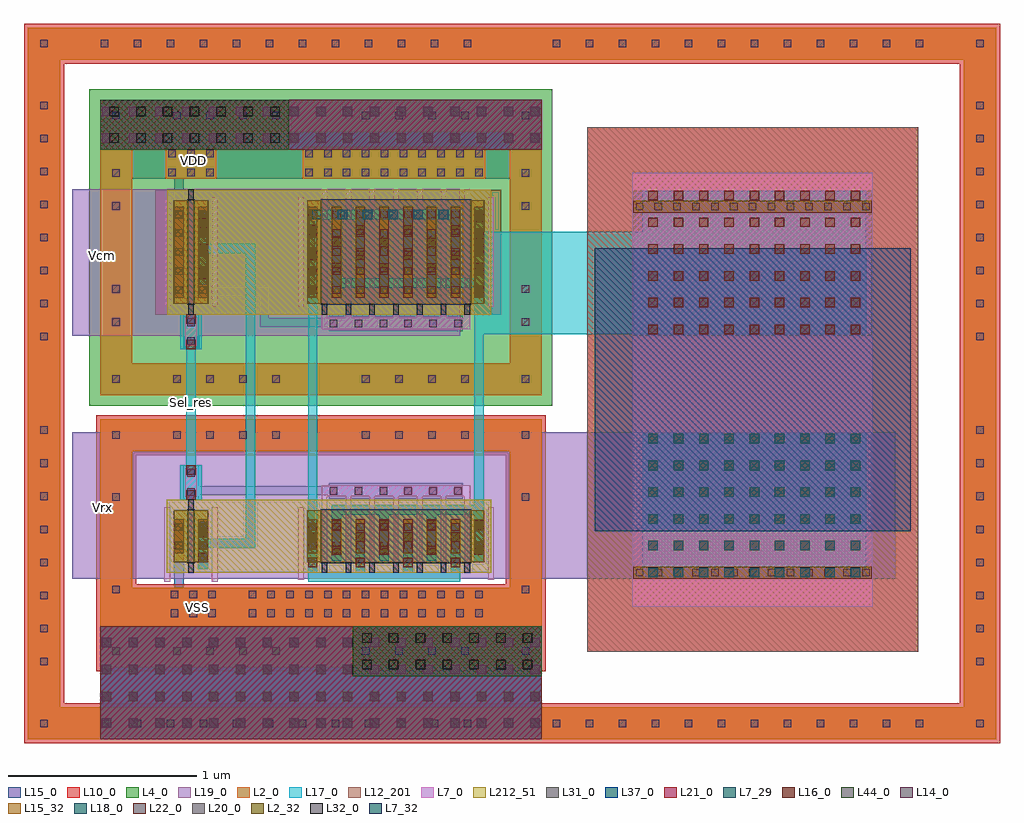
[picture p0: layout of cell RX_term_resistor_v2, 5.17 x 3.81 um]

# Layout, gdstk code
from math import pi, radians
import gdstk
lib = gdstk.Library(unit=1e-6, precision=1e-09)
def R(c, l, rs):  # rectangles x0, y0, x1, y1
    for r in rs: c.add(gdstk.rectangle(r[:2], r[2:], *l))
def A(c, l, x, y, w, h, nx, ny, dx, dy):  # array of equal rectangles
    R(c, l, [(x+i*dx, y+j*dy, x+i*dx+w, y+j*dy+h) for i in range(nx) for j in range(ny)])
def P(c, l, *ps):  # polygons
    for p in ps: c.add(gdstk.Polygon(p, *l))
L2_0 = (2, 0)
L2_32 = (2, 32)
L4_0 = (4, 0)
L7_0 = (7, 0)
L7_29 = (7, 29)
L7_32 = (7, 32)
L10_0 = (10, 0)
L12_201 = (12, 201)
L14_0 = (14, 0)
L15_0 = (15, 0)
L15_32 = (15, 32)
L16_0 = (16, 0)
L17_0 = (17, 0)
L18_0 = (18, 0)
L19_0 = (19, 0)
L20_0 = (20, 0)
L21_0 = (21, 0)
L22_0 = (22, 0)
L31_0 = (31, 0)
L32_0 = (32, 0)
L37_0 = (37, 0)
L44_0 = (44, 0)
L212_51 = (212, 51)

subring_cdns_63307180891 = lib.new_cell('subring_CDNS_6330718089166')
P(subring_cdns_63307180891, L2_0, [(-0.17,-0.17),(2.17,-0.17),(2.17,1.396),(2,1.396),(2,0),(0,0),(0,1.226),(2,1.226),(2,1.396),(-0.17,1.396)])
P(subring_cdns_63307180891, L4_0, [(-0.226,-0.226),(2.226,-0.226),(2.226,1.452),(1.944,1.452),(1.944,0.056),(0.056,0.056),(0.056,1.17),(1.944,1.17),(1.944,1.452),(-0.226,1.452)])
A(subring_cdns_63307180891, L14_0, 0.218, -0.105, 0.04, 0.04, 4, 2, 0.175, 1.396)
A(subring_cdns_63307180891, L14_0, 1.218, -0.105, 0.04, 0.04, 4, 2, 0.175, 1.396)
R(subring_cdns_63307180891, L14_0, [(-0.105,-0.105,-0.065,-0.065), (2.065,-0.105,2.105,-0.065), (-0.105,0.198,-0.065,0.238), (2.065,0.198,2.105,0.238), (-0.105,0.373,-0.065,0.413), (2.065,0.373,2.105,0.413), (-0.105,0.813,-0.065,0.853), (2.065,0.813,2.105,0.853), (-0.105,0.988,-0.065,1.028), (2.065,0.988,2.105,1.028), (-0.105,1.291,-0.065,1.331), (2.065,1.291,2.105,1.331)])
R(subring_cdns_63307180891, L15_0, [(-0.17,-0.17,0,0), (0,-0.17,1,0), (1,-0.17,2,0), (2,-0.17,2.17,0), (-0.17,0,0,0.611), (2,0,2.17,0.611), (-0.17,0.615,0,1.226), (2,0.615,2.17,1.226), (-0.17,1.226,0,1.396), (0,1.226,1,1.396), (1,1.226,2,1.396), (2,1.226,2.17,1.396)])
subring_cdns_63307180891.add(gdstk.Label('W/L : 2um/1.226nm', (0,0.2), layer=62, texttype=20))

rectarray_cdns_633071808 = lib.new_cell('rectarray_CDNS_6330718089168')
A(rectarray_cdns_633071808, L14_0, 0, 0, 0.04, 0.04, 1, 5, 0, 0.1)

slvtpfet_b_cdns_63307180 = lib.new_cell('slvtpfet_b_CDNS_6330718089167')
R(slvtpfet_b_cdns_63307180, L2_0, [(-0.076,0,0.862,0.55)])
R(slvtpfet_b_cdns_63307180, L2_32, [(-0.076,0,0,0.55), (0.786,0,0.862,0.55)])
R(slvtpfet_b_cdns_63307180, L4_0, [(-0.167,-0.056,0.953,0.606)])
A(slvtpfet_b_cdns_63307180, L7_0, 0, -0.057, 0.03, 0.664, 7, 1, 0.126, 0)
R(slvtpfet_b_cdns_63307180, L7_0, [(-0.126,-0.016,-0.096,0.566), (0.882,-0.016,0.912,0.566)])
R(slvtpfet_b_cdns_63307180, L7_29, [(-0.005,-0.005,0.791,0.555)])
A(slvtpfet_b_cdns_63307180, L7_32, 0, -0.057, 0.03, 0.057, 7, 1, 0.126, 0)
R(slvtpfet_b_cdns_63307180, L10_0, [(-0.132,-0.056,0.918,0.606)])
A(slvtpfet_b_cdns_63307180, L15_0, -0.073, 0.034, 0.05, 0.482, 8, 1, 0.126, 0)
A(slvtpfet_b_cdns_63307180, L15_32, -0.073, 0.034, 0.05, 0.482, 8, 1, 0.126, 0)
R(slvtpfet_b_cdns_63307180, L212_51, [(-0.111,-0.056,0.897,0.606)])
slvtpfet_b_cdns_63307180.add(gdstk.Reference(rectarray_cdns_633071808, (-0.068,0.055)))
slvtpfet_b_cdns_63307180.add(gdstk.Reference(rectarray_cdns_633071808, (0.058,0.055)))
slvtpfet_b_cdns_63307180.add(gdstk.Reference(rectarray_cdns_633071808, (0.184,0.055)))
slvtpfet_b_cdns_63307180.add(gdstk.Reference(rectarray_cdns_633071808, (0.31,0.055)))
slvtpfet_b_cdns_63307180.add(gdstk.Reference(rectarray_cdns_633071808, (0.436,0.055)))
slvtpfet_b_cdns_63307180.add(gdstk.Reference(rectarray_cdns_633071808, (0.562,0.055)))
slvtpfet_b_cdns_63307180.add(gdstk.Reference(rectarray_cdns_633071808, (0.688,0.055)))
slvtpfet_b_cdns_63307180.add(gdstk.Reference(rectarray_cdns_633071808, (0.814,0.055)))
slvtpfet_b_cdns_63307180.add(gdstk.Label('ifxdevlayout (i486-linux-libc6) build Fri Dec 10 13:20:34 MET 2010  Mgen tech file last modified : 2015/5/20 7:23:37', (0,0), layer=62, texttype=20))

c_rectarray_cdns_633071808 = lib.new_cell('rectarray_CDNS_6330718089170')
A(c_rectarray_cdns_633071808, L14_0, 0, 0, 0.04, 0.04, 3, 2, 0.1, 0.1)

extstackedcontact_cdns_6 = lib.new_cell('extStackedContact_CDNS_6330718089169')
R(extstackedcontact_cdns_6, L2_0, [(0,0,0.268,0.168)])
R(extstackedcontact_cdns_6, L10_0, [(-0.021,-0.021,0.289,0.189)])
R(extstackedcontact_cdns_6, L15_0, [(0,0,0.268,0.168)])
extstackedcontact_cdns_6.add(gdstk.Reference(c_rectarray_cdns_633071808, (0.014,0.014)))

c_slvtpfet_b_cdns_63307180 = lib.new_cell('slvtpfet_b_CDNS_6330718089171')
R(c_slvtpfet_b_cdns_63307180, L2_0, [(-0.076,0,0.106,0.55)])
R(c_slvtpfet_b_cdns_63307180, L2_32, [(-0.076,0,0,0.55), (0.03,0,0.106,0.55)])
R(c_slvtpfet_b_cdns_63307180, L4_0, [(-0.167,-0.056,0.197,0.606)])
R(c_slvtpfet_b_cdns_63307180, L7_0, [(0,-0.057,0.03,0.607), (-0.126,-0.016,-0.096,0.566), (0.126,-0.016,0.156,0.566)])
R(c_slvtpfet_b_cdns_63307180, L7_29, [(-0.005,-0.005,0.035,0.555)])
R(c_slvtpfet_b_cdns_63307180, L7_32, [(0,-0.057,0.03,0), (0,0.55,0.03,0.607)])
R(c_slvtpfet_b_cdns_63307180, L10_0, [(-0.132,-0.056,0.162,0.606)])
R(c_slvtpfet_b_cdns_63307180, L15_0, [(-0.073,0.034,-0.023,0.516), (0.053,0.034,0.103,0.516)])
R(c_slvtpfet_b_cdns_63307180, L15_32, [(-0.073,0.034,-0.023,0.516), (0.053,0.034,0.103,0.516)])
R(c_slvtpfet_b_cdns_63307180, L212_51, [(-0.111,-0.056,0.141,0.606)])
c_slvtpfet_b_cdns_63307180.add(gdstk.Reference(rectarray_cdns_633071808, (-0.068,0.055)))
c_slvtpfet_b_cdns_63307180.add(gdstk.Reference(rectarray_cdns_633071808, (0.058,0.055)))
c_slvtpfet_b_cdns_63307180.add(gdstk.Label('ifxdevlayout (i486-linux-libc6) build Fri Dec 10 13:20:34 MET 2010  Mgen tech file last modified : 2015/5/20 7:23:37', (0,0), layer=62, texttype=20))

c_rectarray_cdns_633071808_ = lib.new_cell('rectarray_CDNS_6330718089173')
A(c_rectarray_cdns_633071808_, L14_0, 0, 0, 0.04, 0.04, 10, 2, 0.1, 0.1)

c_extstackedcontact_cdns_6 = lib.new_cell('extStackedContact_CDNS_6330718089172')
R(c_extstackedcontact_cdns_6, L2_0, [(0,0,0.968,0.168)])
R(c_extstackedcontact_cdns_6, L4_0, [(-0.056,-0.056,1.024,0.224)])
R(c_extstackedcontact_cdns_6, L15_0, [(0,0,0.968,0.168)])
c_extstackedcontact_cdns_6.add(gdstk.Reference(c_rectarray_cdns_633071808_, (0.014,0.014)))

c_extstackedcontact_cdns_6_ = lib.new_cell('extStackedContact_CDNS_6330718089174')
R(c_extstackedcontact_cdns_6_, L2_0, [(0,0,0.968,0.168)])
R(c_extstackedcontact_cdns_6_, L10_0, [(-0.021,-0.021,0.989,0.189)])
R(c_extstackedcontact_cdns_6_, L15_0, [(0,0,0.968,0.168)])
c_extstackedcontact_cdns_6_.add(gdstk.Reference(c_rectarray_cdns_633071808_, (0.014,0.014)))

c_extstackedcontact_cdns_6__ = lib.new_cell('extStackedContact_CDNS_6330718089175')
R(c_extstackedcontact_cdns_6__, L2_0, [(0,0,0.268,0.168)])
R(c_extstackedcontact_cdns_6__, L4_0, [(-0.056,-0.056,0.324,0.224)])
R(c_extstackedcontact_cdns_6__, L15_0, [(0,0,0.268,0.168)])
c_extstackedcontact_cdns_6__.add(gdstk.Reference(c_rectarray_cdns_633071808, (0.014,0.014)))

slvtnfet_b_cdns_63307180 = lib.new_cell('slvtnfet_b_CDNS_6330718089176')
R(slvtnfet_b_cdns_63307180, L2_0, [(-0.076,0,0.862,0.275)])
R(slvtnfet_b_cdns_63307180, L2_32, [(-0.076,0,0,0.275), (0.786,0,0.862,0.275)])
A(slvtnfet_b_cdns_63307180, L7_0, 0, -0.057, 0.03, 0.389, 7, 1, 0.126, 0)
R(slvtnfet_b_cdns_63307180, L7_0, [(-0.126,-0.016,-0.096,0.291), (0.882,-0.016,0.912,0.291)])
R(slvtnfet_b_cdns_63307180, L7_29, [(-0.005,-0.005,0.791,0.28)])
A(slvtnfet_b_cdns_63307180, L7_32, 0, -0.057, 0.03, 0.057, 7, 1, 0.126, 0)
A(slvtnfet_b_cdns_63307180, L14_0, -0.068, 0.067, 0.04, 0.04, 8, 2, 0.126, 0.1)
A(slvtnfet_b_cdns_63307180, L15_0, -0.073, 0.046, 0.05, 0.182, 8, 1, 0.126, 0)
A(slvtnfet_b_cdns_63307180, L15_32, -0.073, 0.046, 0.05, 0.182, 8, 1, 0.126, 0)
R(slvtnfet_b_cdns_63307180, L212_51, [(-0.111,-0.056,0.897,0.331)])
slvtnfet_b_cdns_63307180.add(gdstk.Label('ifxdevlayout (i486-linux-libc6) build Fri Dec 10 13:20:34 MET 2010  Mgen tech file last modified : 2015/5/20 7:23:37', (0,0), layer=62, texttype=20))

c_slvtnfet_b_cdns_63307180 = lib.new_cell('slvtnfet_b_CDNS_6330718089177')
R(c_slvtnfet_b_cdns_63307180, L2_0, [(-0.076,0,0.106,0.275)])
R(c_slvtnfet_b_cdns_63307180, L2_32, [(-0.076,0,0,0.275), (0.03,0,0.106,0.275)])
R(c_slvtnfet_b_cdns_63307180, L7_0, [(0,-0.057,0.03,0.332), (-0.126,-0.016,-0.096,0.291), (0.126,-0.016,0.156,0.291)])
R(c_slvtnfet_b_cdns_63307180, L7_29, [(-0.005,-0.005,0.035,0.28)])
R(c_slvtnfet_b_cdns_63307180, L7_32, [(0,-0.057,0.03,0), (0,0.275,0.03,0.332)])
R(c_slvtnfet_b_cdns_63307180, L14_0, [(-0.068,0.067,-0.028,0.107), (0.058,0.067,0.098,0.107), (-0.068,0.167,-0.028,0.207), (0.058,0.167,0.098,0.207)])
R(c_slvtnfet_b_cdns_63307180, L15_0, [(-0.073,0.046,-0.023,0.228), (0.053,0.046,0.103,0.228)])
R(c_slvtnfet_b_cdns_63307180, L15_32, [(-0.073,0.046,-0.023,0.228), (0.053,0.046,0.103,0.228)])
R(c_slvtnfet_b_cdns_63307180, L212_51, [(-0.111,-0.056,0.141,0.331)])
c_slvtnfet_b_cdns_63307180.add(gdstk.Label('ifxdevlayout (i486-linux-libc6) build Fri Dec 10 13:20:34 MET 2010  Mgen tech file last modified : 2015/5/20 7:23:37', (0,0), layer=62, texttype=20))

c_subring_cdns_63307180891 = lib.new_cell('subring_CDNS_6330718089178')
P(c_subring_cdns_63307180891, L2_0, [(-0.17,-0.17),(2.17,-0.17),(2.17,1.145),(2,1.145),(2,0),(0,0),(0,0.975),(2,0.975),(2,1.145),(-0.17,1.145)])
P(c_subring_cdns_63307180891, L10_0, [(-0.191,-0.191),(2.191,-0.191),(2.191,1.166),(1.979,1.166),(1.979,0.021),(0.021,0.021),(0.021,0.954),(1.979,0.954),(1.979,1.166),(-0.191,1.166)])
A(c_subring_cdns_63307180891, L14_0, 0.218, -0.105, 0.04, 0.04, 4, 2, 0.175, 1.145)
A(c_subring_cdns_63307180891, L14_0, 1.218, -0.105, 0.04, 0.04, 4, 2, 0.175, 1.145)
R(c_subring_cdns_63307180891, L14_0, [(-0.105,-0.105,-0.065,-0.065), (2.065,-0.105,2.105,-0.065), (-0.105,0.223,-0.065,0.263), (2.065,0.223,2.105,0.263), (-0.105,0.712,-0.065,0.752), (2.065,0.712,2.105,0.752), (-0.105,1.04,-0.065,1.08), (2.065,1.04,2.105,1.08)])
R(c_subring_cdns_63307180891, L15_0, [(-0.17,-0.17,0,0), (0,-0.17,1,0), (1,-0.17,2,0), (2,-0.17,2.17,0), (-0.17,0,0,0.486), (2,0,2.17,0.486), (-0.17,0.489,0,0.975), (2,0.489,2.17,0.975), (-0.17,0.975,0,1.145), (0,0.975,1,1.145), (1,0.975,2,1.145), (2,0.975,2.17,1.145)])
c_subring_cdns_63307180891.add(gdstk.Label('W/L : 2um/0.975nm', (0,0.2), layer=62, texttype=20))

c_rectarray_cdns_633071808__ = lib.new_cell('rectarray_CDNS_6330718089180')
A(c_rectarray_cdns_633071808__, L14_0, 0, 0, 0.04, 0.04, 13, 1, 0.1, 0)

opppcres_b_cdns_63307180 = lib.new_cell('opppcres_b_CDNS_6330718089179')
R(opppcres_b_cdns_63307180, L7_0, [(0,-0.4,1.275,1.9)])
R(opppcres_b_cdns_63307180, L10_0, [(-0.24,-0.64,1.515,2.14)])
R(opppcres_b_cdns_63307180, L12_201, [(-0.24,-0.64,1.515,2.14)])
R(opppcres_b_cdns_63307180, L15_0, [(0.005,-0.252,1.269,-0.188), (0.005,1.688,1.269,1.752)])
R(opppcres_b_cdns_63307180, L15_32, [(0.005,-0.252,1.269,-0.188), (0.005,1.688,1.269,1.752)])
R(opppcres_b_cdns_63307180, L37_0, [(-0.2,0,1.475,1.5)])
opppcres_b_cdns_63307180.add(gdstk.Reference(c_rectarray_cdns_633071808__, (0.017,1.7)))
opppcres_b_cdns_63307180.add(gdstk.Reference(c_rectarray_cdns_633071808__, (0.017,-0.24)))
opppcres_b_cdns_63307180.add(gdstk.Label('ifxdevlayout (i486-linux-libc6) build Fri Dec 10 13:20:34 MET 2010  Mgen tech file last modified : 2015/5/20 7:23:37', (0,0), layer=62, texttype=20))

c_rectarray_cdns_633071808___ = lib.new_cell('rectarray_CDNS_6330718089182')
A(c_rectarray_cdns_633071808___, L32_0, 0, 0, 0.05, 0.05, 7, 2, 0.142, 0.142)

c_extstackedcontact_cdns_6___ = lib.new_cell('extStackedContact_CDNS_6330718089181')
R(c_extstackedcontact_cdns_6___, L31_0, [(0,0,1,0.266)])
R(c_extstackedcontact_cdns_6___, L44_0, [(0,0,1,0.266)])
c_extstackedcontact_cdns_6___.add(gdstk.Reference(c_rectarray_cdns_633071808___, (0.049,0.037)))

c_rectarray_cdns_633071808____ = lib.new_cell('rectarray_CDNS_6330718089184')
A(c_rectarray_cdns_633071808____, L22_0, 0, 0, 0.05, 0.05, 17, 4, 0.142, 0.142)

c_rectarray_cdns_633071808_____ = lib.new_cell('rectarray_CDNS_6330718089185')
A(c_rectarray_cdns_633071808_____, L20_0, 0, 0, 0.05, 0.05, 17, 4, 0.142, 0.142)

c_rectarray_cdns_633071808______ = lib.new_cell('rectarray_CDNS_6330718089186')
A(c_rectarray_cdns_633071808______, L18_0, 0, 0, 0.05, 0.05, 17, 4, 0.142, 0.142)

c_rectarray_cdns_633071808_______ = lib.new_cell('rectarray_CDNS_6330718089187')
A(c_rectarray_cdns_633071808_______, L16_0, 0, 0, 0.05, 0.05, 17, 4, 0.142, 0.142)

c_extstackedcontact_cdns_6____ = lib.new_cell('extStackedContact_CDNS_6330718089183')
R(c_extstackedcontact_cdns_6____, L15_0, [(0,0,2.34,0.6)])
R(c_extstackedcontact_cdns_6____, L17_0, [(0,0,2.34,0.6)])
R(c_extstackedcontact_cdns_6____, L19_0, [(0,0,2.34,0.6)])
R(c_extstackedcontact_cdns_6____, L21_0, [(0,0,2.34,0.6)])
R(c_extstackedcontact_cdns_6____, L31_0, [(0,0,2.34,0.6)])
c_extstackedcontact_cdns_6____.add(gdstk.Reference(c_rectarray_cdns_633071808____, (0.009,0.062)))
c_extstackedcontact_cdns_6____.add(gdstk.Reference(c_rectarray_cdns_633071808_____, (0.009,0.062)))
c_extstackedcontact_cdns_6____.add(gdstk.Reference(c_rectarray_cdns_633071808______, (0.009,0.062)))
c_extstackedcontact_cdns_6____.add(gdstk.Reference(c_rectarray_cdns_633071808_______, (0.009,0.062)))

c_subring_cdns_63307180891_ = lib.new_cell('subring_CDNS_6330718089188')
P(c_subring_cdns_63307180891_, L2_0, [(-0.17,-0.17),(4.96,-0.17),(4.96,3.603),(4.79,3.603),(4.79,0),(0,0),(0,3.433),(4.79,3.433),(4.79,3.603),(-0.17,3.603)])
P(c_subring_cdns_63307180891_, L10_0, [(-0.191,-0.191),(4.981,-0.191),(4.981,3.624),(4.769,3.624),(4.769,0.021),(0.021,0.021),(0.021,3.412),(4.769,3.412),(4.769,3.624),(-0.191,3.624)])
A(c_subring_cdns_63307180891_, L14_0, 0.215, -0.105, 0.04, 0.04, 12, 2, 0.175, 3.603)
A(c_subring_cdns_63307180891_, L14_0, 2.61, -0.105, 0.04, 0.04, 12, 2, 0.175, 3.603)
A(c_subring_cdns_63307180891_, L14_0, -0.105, 0.224, 0.04, 0.04, 1, 8, 0, 0.175)
A(c_subring_cdns_63307180891_, L14_0, 4.855, 0.224, 0.04, 0.04, 1, 8, 0, 0.175)
A(c_subring_cdns_63307180891_, L14_0, -0.105, 1.945, 0.04, 0.04, 1, 8, 0, 0.175)
A(c_subring_cdns_63307180891_, L14_0, 4.855, 1.945, 0.04, 0.04, 1, 8, 0, 0.175)
R(c_subring_cdns_63307180891_, L14_0, [(-0.105,-0.105,-0.065,-0.065), (4.855,-0.105,4.895,-0.065), (-0.105,3.498,-0.065,3.538), (4.855,3.498,4.895,3.538)])
R(c_subring_cdns_63307180891_, L15_0, [(-0.17,-0.17,0,0), (0,-0.17,2.395,0), (2.395,-0.17,4.79,0), (4.79,-0.17,4.96,0), (-0.17,0,0,1.712), (4.79,0,4.96,1.712), (-0.17,1.721,0,3.433), (4.79,1.721,4.96,3.433), (-0.17,3.433,0,3.603), (0,3.433,2.395,3.603), (2.395,3.433,4.79,3.603), (4.79,3.433,4.96,3.603)])
c_subring_cdns_63307180891_.add(gdstk.Label('W/L : 4.79um/3.433nm', (0,0.2), layer=62, texttype=20))

c_rectarray_cdns_633071808________ = lib.new_cell('rectarray_CDNS_6330718089190')
A(c_rectarray_cdns_633071808________, L22_0, 0, 0, 0.05, 0.05, 17, 2, 0.142, 0.142)

c_rectarray_cdns_633071808_________ = lib.new_cell('rectarray_CDNS_6330718089191')
A(c_rectarray_cdns_633071808_________, L20_0, 0, 0, 0.05, 0.05, 17, 2, 0.142, 0.142)

c_rectarray_cdns_633071808__________ = lib.new_cell('rectarray_CDNS_6330718089192')
A(c_rectarray_cdns_633071808__________, L18_0, 0, 0, 0.05, 0.05, 17, 2, 0.142, 0.142)

c_rectarray_cdns_633071808___________ = lib.new_cell('rectarray_CDNS_6330718089193')
A(c_rectarray_cdns_633071808___________, L16_0, 0, 0, 0.05, 0.05, 17, 2, 0.142, 0.142)

c_extstackedcontact_cdns_6_____ = lib.new_cell('extStackedContact_CDNS_6330718089189')
R(c_extstackedcontact_cdns_6_____, L15_0, [(0,0,2.34,0.266)])
R(c_extstackedcontact_cdns_6_____, L17_0, [(0,0,2.34,0.266)])
R(c_extstackedcontact_cdns_6_____, L19_0, [(0,0,2.34,0.266)])
R(c_extstackedcontact_cdns_6_____, L21_0, [(0,0,2.34,0.266)])
R(c_extstackedcontact_cdns_6_____, L31_0, [(0,0,2.34,0.266)])
c_extstackedcontact_cdns_6_____.add(gdstk.Reference(c_rectarray_cdns_633071808________, (0.009,0.037)))
c_extstackedcontact_cdns_6_____.add(gdstk.Reference(c_rectarray_cdns_633071808_________, (0.009,0.037)))
c_extstackedcontact_cdns_6_____.add(gdstk.Reference(c_rectarray_cdns_633071808__________, (0.009,0.037)))
c_extstackedcontact_cdns_6_____.add(gdstk.Reference(c_rectarray_cdns_633071808___________, (0.009,0.037)))

m1v1m2_cdns_633507145880 = lib.new_cell('M1V1M2_CDNS_633507145880')
R(m1v1m2_cdns_633507145880, L15_0, [(-0.109,-0.025,0.109,0.025)])
R(m1v1m2_cdns_633507145880, L16_0, [(-0.092,-0.025,-0.042,0.025), (0.042,-0.025,0.092,0.025)])
R(m1v1m2_cdns_633507145880, L17_0, [(-0.124,-0.025,0.124,0.025)])

pccam1_cdns_633507145881 = lib.new_cell('PCCAM1_CDNS_633507145881')
R(pccam1_cdns_633507145881, L7_0, [(-0.03,-0.074,0.03,0.074)])
R(pccam1_cdns_633507145881, L14_0, [(-0.02,-0.07,0.02,-0.03), (-0.02,0.03,0.02,0.07)])
R(pccam1_cdns_633507145881, L15_0, [(-0.041,-0.075,0.041,0.075)])

m1v1m2_cdns_633507145882 = lib.new_cell('M1V1M2_CDNS_633507145882')
R(m1v1m2_cdns_633507145882, L15_0, [(-0.176,-0.025,0.176,0.025)])
A(m1v1m2_cdns_633507145882, L16_0, -0.159, -0.025, 0.05, 0.05, 3, 1, 0.134, 0)
R(m1v1m2_cdns_633507145882, L17_0, [(-0.191,-0.025,0.191,0.025)])

m1v1m2_cdns_633507145883 = lib.new_cell('M1V1M2_CDNS_633507145883')
R(m1v1m2_cdns_633507145883, L15_0, [(-0.243,-0.025,0.243,0.025)])
A(m1v1m2_cdns_633507145883, L16_0, -0.226, -0.025, 0.05, 0.05, 4, 1, 0.134, 0)
R(m1v1m2_cdns_633507145883, L17_0, [(-0.258,-0.025,0.258,0.025)])

pccam1_cdns_633507145884 = lib.new_cell('PCCAM1_CDNS_633507145884')
R(pccam1_cdns_633507145884, L7_0, [(-0.03,-0.354,0.03,0.354)])
A(pccam1_cdns_633507145884, L14_0, -0.02, -0.35, 0.04, 0.04, 1, 6, 0, 0.132)
R(pccam1_cdns_633507145884, L15_0, [(-0.041,-0.355,0.041,0.355)])

m1v1m2_cdns_633507145885 = lib.new_cell('M1V1M2_CDNS_633507145885')
R(m1v1m2_cdns_633507145885, L15_0, [(-0.042,-0.092,0.042,0.092)])
R(m1v1m2_cdns_633507145885, L16_0, [(-0.025,-0.092,0.025,-0.042), (-0.025,0.042,0.025,0.092)])
R(m1v1m2_cdns_633507145885, L17_0, [(-0.057,-0.092,0.057,0.092)])

m1v1m2_cdns_633507145886 = lib.new_cell('M1V1M2_CDNS_633507145886')
R(m1v1m2_cdns_633507145886, L15_0, [(-0.578,-0.38,0.578,0.38)])
A(m1v1m2_cdns_633507145886, L16_0, -0.561, -0.38, 0.05, 0.05, 9, 6, 0.134, 0.142)
R(m1v1m2_cdns_633507145886, L17_0, [(-0.593,-0.38,0.593,0.38)])

m2v2m3_cdns_633507145887 = lib.new_cell('M2V2M3_CDNS_633507145887')
R(m2v2m3_cdns_633507145887, L17_0, [(-0.377,-0.025,0.377,0.025)])
A(m2v2m3_cdns_633507145887, L18_0, -0.36, -0.025, 0.05, 0.05, 6, 1, 0.134, 0)
R(m2v2m3_cdns_633507145887, L19_0, [(-0.377,-0.025,0.377,0.025)])

m2v2m3_cdns_633507145888 = lib.new_cell('M2V2M3_CDNS_633507145888')
R(m2v2m3_cdns_633507145888, L17_0, [(-0.578,-0.38,0.578,0.38)])
A(m2v2m3_cdns_633507145888, L18_0, -0.561, -0.38, 0.05, 0.05, 9, 6, 0.134, 0.142)
R(m2v2m3_cdns_633507145888, L19_0, [(-0.578,-0.388,0.578,0.388)])

rx_term_resistor_v2 = lib.new_cell('RX_term_resistor_v2')
R(rx_term_resistor_v2, L2_0, [(-4.199,-1.253,-2.199,-1.003), (-3.741,-1.171,-3.596,-1.003)])
R(rx_term_resistor_v2, L4_0, [(-4.425,-0.037,-1.973,1.641), (-4.217,0.446,-3.533,1.459), (-3.533,0.446,-2.066,1.459)])
A(rx_term_resistor_v2, L7_0, -3.194, -0.534, 0.03, 0.016, 7, 2, 0.126, 0.963)
R(rx_term_resistor_v2, L7_0, [(-3.32,-0.96,-3.29,-0.781), (-2.312,-0.96,-2.282,-0.781), (-3.902,-0.534,-3.872,-0.518), (-2.438,-0.534,-2.408,-0.518), (-3.194,-0.518,-3.156,-0.458), (-2.448,-0.518,-2.408,-0.458), (-3.194,0.369,-3.156,0.429), (-2.448,0.369,-2.408,0.429), (-3.902,0.429,-3.872,0.445)])
R(rx_term_resistor_v2, L10_0, [(-4.39,-1.444,-2.008,-0.982), (-4.077,0.446,-3.695,1.108), (-4.077,0.446,-2.242,1.108), (-3.362,0.446,-2.242,1.108)])
R(rx_term_resistor_v2, L15_0, [(-4.369,-1.806,-2.029,-1.003), (-4.369,-1.335,-4.199,-0.21), (-2.199,-1.335,-2.029,-0.21), (-1.543,-0.954,-0.279,-0.178), (-1.495,-0.954,-0.309,-0.178), (-4.751,-0.02,-4.581,1.105), (0.209,-0.02,0.379,1.105), (-4.369,0.178,-4.199,1.303), (-2.199,0.178,-2.029,1.303), (-1.543,0.334,-0.279,1.102), (-1.495,0.334,-0.309,1.102), (-4.369,1.165,-2.029,1.585)])
R(rx_term_resistor_v2, L17_0, [(-3.267,-0.97,-2.461,-0.92), (-3.141,-0.615,-2.335,-0.565), (-2.385,0.342,-0.309,0.885)])
R(rx_term_resistor_v2, L19_0, [(-4.516,-0.953,-0.154,-0.178), (-4.515,0.334,-2.461,1.109)])
R(rx_term_resistor_v2, L212_51, [(-4.015,-0.922,-2.297,-0.535), (-4.013,0.446,-2.297,1.108)])
rx_term_resistor_v2.add(gdstk.FlexPath([(-4.013,-0.79),(-4.013,-0.969)], 0.03, ends="flush", simple_path=True, layer=7, datatype=0))  # L7_0
rx_term_resistor_v2.add(gdstk.FlexPath([(-3.761,-0.79),(-3.761,-0.969)], 0.03, ends="flush", simple_path=True, layer=7, datatype=0))  # L7_0
rx_term_resistor_v2.add(gdstk.FlexPath([(-3.761,-0.761),(-3.761,-0.94)], 0.03, ends="flush", simple_path=True, layer=7, datatype=0))  # L7_0
rx_term_resistor_v2.add(gdstk.FlexPath([(-2.461,0.976),(-3.267,0.976)], 0.05, ends="flush", simple_path=True, layer=17, datatype=0))  # L17_0
rx_term_resistor_v2.add(gdstk.FlexPath([(-3.242,0.703),(-3.242,-0.767)], 0.05, ends="flush", simple_path=True, layer=17, datatype=0))  # L17_0
rx_term_resistor_v2.add(gdstk.FlexPath([(-3.886,0.355),(-3.886,-0.477)], 0.05, ends="flush", simple_path=True, layer=17, datatype=0))  # L17_0
rx_term_resistor_v2.add(gdstk.FlexPath([(-3.141,0.614),(-2.335,0.614)], 0.05, ends="flush", simple_path=True, layer=17, datatype=0))  # L17_0
rx_term_resistor_v2.add(gdstk.FlexPath([(-2.36,-0.757),(-2.36,0.611)], 0.05, ends="flush", simple_path=True, layer=17, datatype=0))  # L17_0
rx_term_resistor_v2.add(gdstk.FlexPath([(-3.824,0.795),(-3.571,0.795)], 0.05, ends=(0, 0.025), simple_path=True, layer=17, datatype=0))  # L17_0
rx_term_resistor_v2.add(gdstk.FlexPath([(-3.571,0.795),(-3.571,-0.766)], 0.05, ends="extended", simple_path=True, layer=17, datatype=0))  # L17_0
rx_term_resistor_v2.add(gdstk.FlexPath([(-3.571,-0.766),(-3.849,-0.766)], 0.05, ends=(0.025, 0), simple_path=True, layer=17, datatype=0))  # L17_0
rx_term_resistor_v2.add(gdstk.FlexPath([(-3.95,-0.752),(-3.95,-1.013)], 0.05, ends="flush", simple_path=True, layer=15, datatype=0))  # L15_0
rx_term_resistor_v2.add(gdstk.FlexPath([(-3.95,0.988),(-3.95,1.186)], 0.05, ends="flush", simple_path=True, layer=15, datatype=0))  # L15_0
rx_term_resistor_v2.add(gdstk.FlexPath([(-3.827,0.567),(-3.499,0.567)], 0.05, ends=(0, 0.025), simple_path=True, layer=15, datatype=0))  # L15_0
rx_term_resistor_v2.add(gdstk.FlexPath([(-2.802,-0.488),(-3.928,-0.488)], 0.05, ends="flush", simple_path=True, layer=15, datatype=0))  # L15_0
rx_term_resistor_v2.add(gdstk.FlexPath([(-3.499,0.567),(-3.499,0.404)], 0.05, ends="extended", simple_path=True, layer=15, datatype=0))  # L15_0
rx_term_resistor_v2.add(gdstk.FlexPath([(-3.499,0.404),(-3.051,0.404)], 0.05, ends=(0.025, 0), simple_path=True, layer=15, datatype=0))  # L15_0
rx_term_resistor_v2.add(gdstk.Reference(subring_cdns_63307180891, (-4.199,0.189)))
rx_term_resistor_v2.add(gdstk.Reference(slvtpfet_b_cdns_63307180, (-3.194,0.502)))
rx_term_resistor_v2.add(gdstk.Reference(extstackedcontact_cdns_6, (-4.009,-1.171)))
rx_term_resistor_v2.add(gdstk.Reference(c_slvtpfet_b_cdns_63307180, (-3.902,0.502)))
rx_term_resistor_v2.add(gdstk.Reference(c_extstackedcontact_cdns_6, (-3.296,1.165)))
rx_term_resistor_v2.add(gdstk.Reference(c_extstackedcontact_cdns_6_, (-3.296,-1.171)))
rx_term_resistor_v2.add(gdstk.Reference(c_extstackedcontact_cdns_6_, (-3.596,-1.171)))
rx_term_resistor_v2.add(gdstk.Reference(c_extstackedcontact_cdns_6__, (-4.021,1.165)))
rx_term_resistor_v2.add(gdstk.Reference(slvtnfet_b_cdns_63307180, (-3.194,-0.866)))
rx_term_resistor_v2.add(gdstk.Reference(c_slvtnfet_b_cdns_63307180, (-3.902,-0.866)))
rx_term_resistor_v2.add(gdstk.Reference(c_subring_cdns_63307180891, (-4.199,-1.253)))
rx_term_resistor_v2.add(gdstk.Reference(opppcres_b_cdns_63307180, (-1.548,-0.702)))
rx_term_resistor_v2.add(gdstk.Reference(c_extstackedcontact_cdns_6___, (-4.369,1.319)))
rx_term_resistor_v2.add(gdstk.Reference(c_extstackedcontact_cdns_6___, (-3.029,-1.471)))
rx_term_resistor_v2.add(gdstk.Reference(c_extstackedcontact_cdns_6____, (-4.369,-1.806)))
rx_term_resistor_v2.add(gdstk.Reference(c_subring_cdns_63307180891_, (-4.581,-1.636)))
rx_term_resistor_v2.add(gdstk.Reference(c_extstackedcontact_cdns_6_____, (-4.369,1.319)))
rx_term_resistor_v2.add(gdstk.Reference(m1v1m2_cdns_633507145880, (-2.36,-0.736), rotation=3*pi/2))
rx_term_resistor_v2.add(gdstk.Reference(m1v1m2_cdns_633507145880, (-2.486,0.827), rotation=pi/2, x_reflection=True))
rx_term_resistor_v2.add(gdstk.Reference(m1v1m2_cdns_633507145880, (-3.242,0.827), rotation=pi/2, x_reflection=True))
rx_term_resistor_v2.add(gdstk.Reference(m1v1m2_cdns_633507145880, (-2.99,0.827), rotation=pi/2, x_reflection=True))
rx_term_resistor_v2.add(gdstk.Reference(m1v1m2_cdns_633507145880, (-2.738,-0.8), rotation=3*pi/2))
rx_term_resistor_v2.add(gdstk.Reference(m1v1m2_cdns_633507145880, (-2.864,0.761), rotation=pi/2, x_reflection=True))
rx_term_resistor_v2.add(gdstk.Reference(m1v1m2_cdns_633507145880, (-2.99,-0.8), rotation=3*pi/2))
rx_term_resistor_v2.add(gdstk.Reference(m1v1m2_cdns_633507145880, (-2.864,-0.736), rotation=3*pi/2))
rx_term_resistor_v2.add(gdstk.Reference(m1v1m2_cdns_633507145880, (-2.738,0.827), rotation=pi/2, x_reflection=True))
rx_term_resistor_v2.add(gdstk.Reference(m1v1m2_cdns_633507145880, (-2.612,-0.736), rotation=3*pi/2))
rx_term_resistor_v2.add(gdstk.Reference(m1v1m2_cdns_633507145880, (-2.612,0.761), rotation=pi/2, x_reflection=True))
rx_term_resistor_v2.add(gdstk.Reference(m1v1m2_cdns_633507145880, (-2.486,-0.8), rotation=3*pi/2))
rx_term_resistor_v2.add(gdstk.Reference(m1v1m2_cdns_633507145880, (-3.824,-0.776), rotation=pi/2))
rx_term_resistor_v2.add(gdstk.Reference(m1v1m2_cdns_633507145880, (-3.242,-0.802), rotation=3*pi/2))
rx_term_resistor_v2.add(gdstk.Reference(m1v1m2_cdns_633507145880, (-3.116,-0.736), rotation=3*pi/2))
rx_term_resistor_v2.add(gdstk.Reference(m1v1m2_cdns_633507145880, (-3.116,0.763), rotation=pi/2, x_reflection=True))
rx_term_resistor_v2.add(gdstk.Reference(pccam1_cdns_633507145881, (-3.887,0.355)))
rx_term_resistor_v2.add(gdstk.Reference(pccam1_cdns_633507145881, (-3.887,-0.444), x_reflection=True))
rx_term_resistor_v2.add(gdstk.Reference(m1v1m2_cdns_633507145882, (-3.824,0.795), rotation=pi/2))
rx_term_resistor_v2.add(gdstk.Reference(m1v1m2_cdns_633507145883, (-2.36,0.76), rotation=pi/2, x_reflection=True))
rx_term_resistor_v2.add(gdstk.Reference(pccam1_cdns_633507145884, (-2.802,0.399), rotation=3*pi/2, x_reflection=True))
rx_term_resistor_v2.add(gdstk.Reference(pccam1_cdns_633507145884, (-2.802,-0.488), rotation=pi/2))
rx_term_resistor_v2.add(gdstk.Reference(m1v1m2_cdns_633507145885, (-3.886,0.355)))
rx_term_resistor_v2.add(gdstk.Reference(m1v1m2_cdns_633507145885, (-3.886,-0.444), x_reflection=True))
rx_term_resistor_v2.add(gdstk.Reference(m1v1m2_cdns_633507145886, (-0.902,0.722)))
rx_term_resistor_v2.add(gdstk.Reference(m1v1m2_cdns_633507145886, (-0.902,-0.566)))
rx_term_resistor_v2.add(gdstk.Reference(m2v2m3_cdns_633507145887, (-2.884,0.976)))
rx_term_resistor_v2.add(gdstk.Reference(m2v2m3_cdns_633507145888, (-0.902,-0.566)))
rx_term_resistor_v2.add(gdstk.Label('VDD', (-3.876,1.264), layer=15, texttype=20))
rx_term_resistor_v2.add(gdstk.Label('VSS', (-3.851,-1.105), layer=15, texttype=20))
rx_term_resistor_v2.add(gdstk.Label('Sel_res', (-3.89,-0.018), layer=17, texttype=20))
rx_term_resistor_v2.add(gdstk.Label('Vrx', (-4.354,-0.575), layer=19, texttype=20))
rx_term_resistor_v2.add(gdstk.Label('Vcm', (-4.354,0.761), layer=19, texttype=20))

lib.write_gds('RX_term_resistor_v2.gds')
